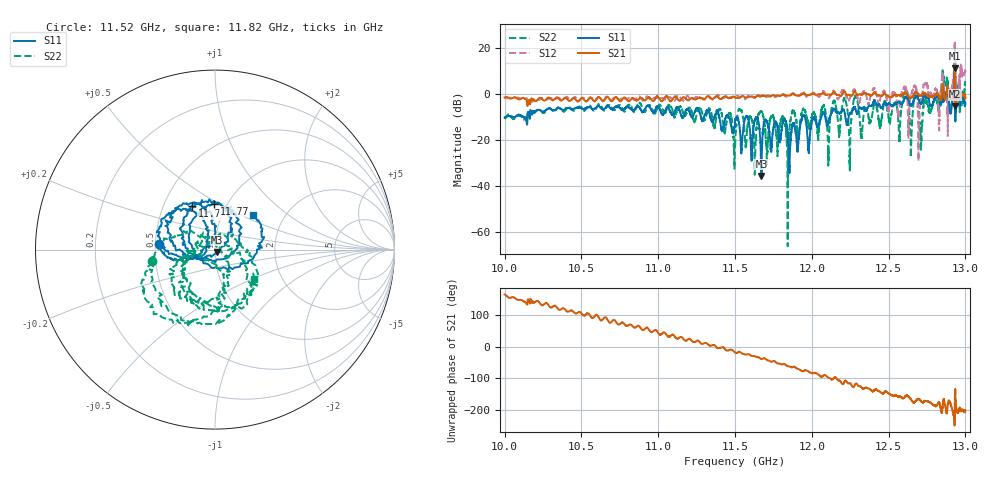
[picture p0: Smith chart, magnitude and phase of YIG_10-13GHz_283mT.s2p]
#  HZ  S  RI  R  50.0
! Rohde & Schwarz ZVL13 2Ports - Version 3.31 - 1303.6509k13 SN: 101088
! Date: 2023-03-06 15:50:31
! Data & Calibration Information:
! Trc4:S11(TOSM) Trc2:S21(TOSM) Trc3:S12(TOSM) Trc5:S22(TOSM)
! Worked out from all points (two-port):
!   4000 points, 10 GHz to 13 GHz, reference 50 ohm
!   highest |S21| = 11.34 dB at 12.93 GHz (marker M1); lowest = -5.1 dB at 12.93 GHz (marker M2)
!   |S21| within 3 dB of the highest: 12.93003 GHz to 12.93144 GHz (1.409 MHz wide, 0.0109 % of centre)
!   lowest |S11| = -35.5 dB at 11.67 GHz (marker M3), VSWR 1.03, Z = 51 - j1.37 ohm
!   |S11| at or under -10 dB: 11.58341 GHz to 11.63834 GHz (54.93 MHz wide, 0.473 % of centre); 11.65 GHz to 11.94 GHz (290.8 MHz wide, 2.47 % of centre); 11.95556 GHz to 12.01146 GHz (55.91 MHz wide, 0.467 % of centre)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
!   |S22| runs from -66.1 to 21.8 dB; largest |S21 - S12| = 12
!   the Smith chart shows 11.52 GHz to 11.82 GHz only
!   S11 on the Smith chart (normalised r, x): 11.52 GHz: 0.52, +0.04; 11.7 GHz: 0.69, +0.36; 11.77 GHz: 0.87, +0.48; 11.82 GHz: 1.40, +0.58
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1e10  0.3065 0.0677  -0.8301 0.2149  -0.8106 0.2555  0.2307 0.1785
1.050038e10  0.3577 -0.343  -0.2196 0.806  -0.2868 0.757  0.5116 -0.1276
1.1e10  -0.1502 -0.5126  0.6346 0.6036  0.5376 0.6096  -0.00347 -0.5513
1.150038e10  -0.2126 0.175  0.8082 -0.2825  0.822 -0.2694  -0.072 0.0181
1.151613e10  -0.3122 0.0333  0.7905 -0.2763  0.8875 -0.2932  -0.3534 -0.0656
1.167217e10  0.0102 -0.0134  0.7092 -0.582  0.7472 -0.5337  -0.1072 -0.4007
1.170443e10  -0.1288 0.2425  0.6916 -0.6048  0.6069 -0.6229  0.0789 0.0191
1.176519e10  -0.00313 0.2567  0.5992 -0.7014  0.561 -0.6816  0.1685 0.0101
1.182371e10  0.2119 0.1903  0.5458 -0.801  0.5763 -0.7325  0.2183 -0.1658
1.2e10  0.0619 -0.2373  0.0939 -1.013  0.038 -1.035  0.0474 -0.3296
1.250038e10  -0.5157 -0.3947  -0.7723 -0.4719  -0.3862 -0.1783  0.0926 -0.3027
1.282146e10  -0.8772 0.3086  -1.036 0.0354  -0.4854 -0.5967  0.4525 -0.2272
1.283721e10  -0.5304 0.2429  -0.738 0.1159  -0.5838 0.6441  -0.2537 0.7292
1.285446e10  -0.8907 0.2005  -1.454 -0.1327  -1.738 -1.625  -2.354 -1.894
1.286797e10  -0.7655 0.5805  -0.8511 0.1002  -0.7484 -0.6133  -0.4234 -1.53
1.289047e10  -0.7826 -0.0643  -1.176 -0.1382  -0.3755 0.6757  0.8265 0.4206
1.291598e10  -0.2835 0.7018  -0.7299 0.3147  -1.406 0.8545  -0.3281 0.6847
1.293098e10  -3.476 -0.5218  -3.523 1.104  -13.95 -5.294  -11.79 3.312
1.293398e10  0.4034 0.5432  -0.3905 -0.3943  3.217 -1.439  1.508 -3.913
1.294899e10  -0.5013 0.8823  -0.7746 0.4204  0.2521 -0.8733  0.21 -1.181
1.297224e10  -0.4483 0.861  -0.8914 0.3913  -2.635 1.898  -0.9497 0.3653
1.3e10  -0.1275 0.5993  -0.7571 0.3211  -2.702 -1.938  -2.1 -0.4308
